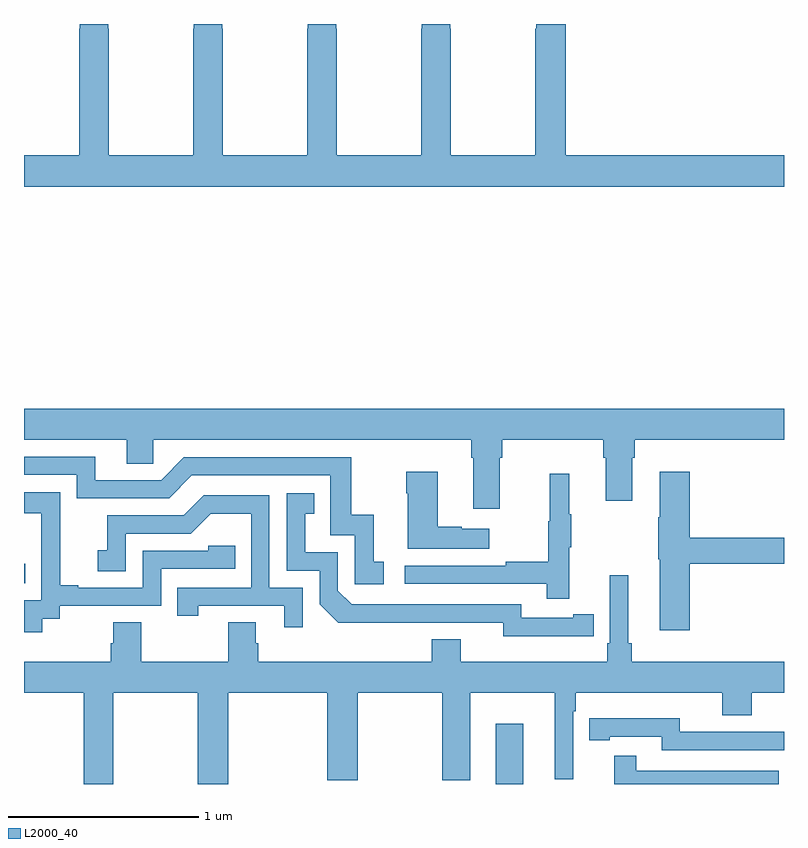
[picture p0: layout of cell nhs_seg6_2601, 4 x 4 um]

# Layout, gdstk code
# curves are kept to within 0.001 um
import gdstk
lib = gdstk.Library(unit=1e-6, precision=1e-09)
def R(c, l, rs):  # rectangles x0, y0, x1, y1
    for r in rs: c.add(gdstk.rectangle(r[:2], r[2:], *l))
def P(c, l, *ps):  # polygons
    for p in ps: c.add(gdstk.Polygon(p, *l))
L2000_40 = (2000, 40)

nhs_seg6_2601 = lib.new_cell('nhs_seg6_2601')
R(nhs_seg6_2601, L2000_40, [(267.482,969.5,267.628,969.817), (265,970.557,265.007,970.658)])
P(nhs_seg6_2601, L2000_40, [(269,972.808),(267.851,972.808),(267.851,973.5),(267.697,973.5),(267.697,973.475),(267.691,973.475),(267.691,972.808),(267.246,972.808),(267.246,973.475),(267.243,973.475),(267.243,973.5),(267.093,973.5),(267.093,973.475),(267.091,973.475),(267.091,972.808),(266.646,972.808),(266.646,973.475),(266.643,973.475),(266.643,973.5),(266.493,973.5),(266.493,973.475),(266.491,973.475),(266.491,972.808),(266.046,972.808),(266.046,973.475),(266.043,973.475),(266.043,973.5),(265.893,973.5),(265.893,973.475),(265.891,973.475),(265.891,972.808),(265.446,972.808),(265.446,973.475),(265.443,973.475),(265.443,973.5),(265.293,973.5),(265.293,973.475),(265.291,973.475),(265.291,972.808),(265,972.808),(265,972.644),(269,972.644)],
  [(265,971.312),(265.541,971.312),(265.541,971.185),(265.68,971.185),(265.68,971.312),(267.353,971.312),(267.353,971.216),(267.365,971.216),(267.365,970.95),(267.505,970.95),(267.505,971.216),(267.518,971.216),(267.518,971.312),(268.049,971.312),(268.049,971.216),(268.061,971.216),(268.061,970.992),(268.201,970.992),(268.201,971.216),(268.214,971.216),(268.214,971.312),(269,971.312),(269,971.476),(265,971.476)],
  [(266.893,970.671),(266.84,970.671),(266.84,970.918),(266.722,970.918),(266.722,971.22),(265.842,971.22),(265.722,971.1),(265.375,971.1),(265.375,971.223),(265,971.223),(265,971.127),(265.278,971.127),(265.278,971.004),(265.764,971.004),(265.884,971.124),(266.613,971.124),(266.613,970.809),(266.742,970.809),(266.742,970.551),(266.893,970.551)],
  [(268.505,970.66),(269,970.66),(269,970.796),(268.505,970.796),(268.505,971.143),(268.346,971.143),(268.346,970.904),(268.339,970.904),(268.339,970.683),(268.346,970.683),(268.346,970.308),(268.505,970.308)],
  [(267.448,970.843),(267.305,970.843),(267.305,970.853),(267.178,970.853),(267.178,971.143),(267.013,971.143),(267.013,971.03),(267.02,971.03),(267.02,970.739),(267.448,970.739)],
  [(267.869,970.747),(267.88,970.747),(267.88,970.921),(267.869,970.921),(267.869,971.134),(267.766,971.134),(267.766,970.884),(267.759,970.884),(267.759,970.67),(267.535,970.67),(267.535,970.65),(267.003,970.65),(267.003,970.554),(267.751,970.554),(267.751,970.476),(267.869,970.476)],
  [(265.096,970.369),(265.188,970.369),(265.188,970.437),(265.722,970.437),(265.722,970.632),(266.111,970.632),(266.111,970.755),(265.971,970.755),(265.971,970.728),(265.626,970.728),(265.626,970.533),(265.285,970.533),(265.285,970.546),(265.19,970.546),(265.19,970.829),(265.191,970.829),(265.191,971.035),(265,971.035),(265,970.925),(265.091,970.925),(265.091,970.697),(265.092,970.697),(265.092,970.467),(265,970.467),(265,970.299),(265.096,970.299)],
  [(267.89,970.278),(267.998,970.278),(267.998,970.394),(267.89,970.394),(267.89,970.374),(267.618,970.374),(267.618,970.446),(266.724,970.446),(266.652,970.518),(266.652,970.719),(266.479,970.719),(266.479,970.923),(266.528,970.923),(266.528,971.029),(266.382,971.029),(266.382,970.623),(266.556,970.623),(266.556,970.446),(266.654,970.349),(267.522,970.35),(267.522,970.277)],
  [(266.466,970.533),(266.292,970.533),(266.292,971.019),(265.946,971.019),(265.841,970.914),(265.438,970.914),(265.438,970.729),(265.389,970.729),(265.389,970.62),(265.536,970.62),(265.536,970.818),(265.878,970.818),(265.982,970.922),(266.196,970.922),(266.196,970.533),(265.807,970.533),(265.807,970.386),(265.918,970.386),(265.918,970.437),(266.369,970.437),(266.369,970.326),(266.466,970.326)],
  [(267.202,969.519),(267.349,969.519),(267.349,969.98),(267.794,969.98),(267.794,969.525),(267.891,969.525),(267.891,969.884),(267.905,969.884),(267.905,969.98),(268.676,969.98),(268.676,969.863),(268.829,969.863),(268.829,969.98),(269,969.98),(269,970.144),(268.199,970.144),(268.199,970.24),(268.18,970.24),(268.18,970.6),(268.083,970.6),(268.083,970.24),(268.07,970.24),(268.07,970.144),(267.298,970.144),(267.298,970.261),(267.146,970.261),(267.146,970.144),(266.234,970.144),(266.234,970.242),(266.221,970.242),(266.221,970.352),(266.074,970.352),(266.074,970.144),(265.617,970.144),(265.617,970.352),(265.469,970.352),(265.469,970.242),(265.457,970.242),(265.457,970.144),(265,970.144),(265,969.98),(265.315,969.98),(265.315,969.5),(265.47,969.5),(265.47,969.98),(265.915,969.98),(265.915,969.5),(266.075,969.5),(266.075,969.98),(266.597,969.98),(266.597,969.519),(266.757,969.519),(266.757,969.98),(267.202,969.98)],
  [(269,969.776),(268.912,969.776),(268.912,969.774),(268.452,969.774),(268.452,969.847),(268.084,969.847),(268.084,969.846),(267.976,969.846),(267.976,969.73),(268.084,969.73),(268.084,969.75),(268.356,969.75),(268.356,969.678),(269,969.678)],
  [(268.972,969.57),(268.223,969.57),(268.223,969.649),(268.106,969.649),(268.106,969.5),(268.972,969.5)])

lib.write_gds('nhs_seg6_2601.gds')
